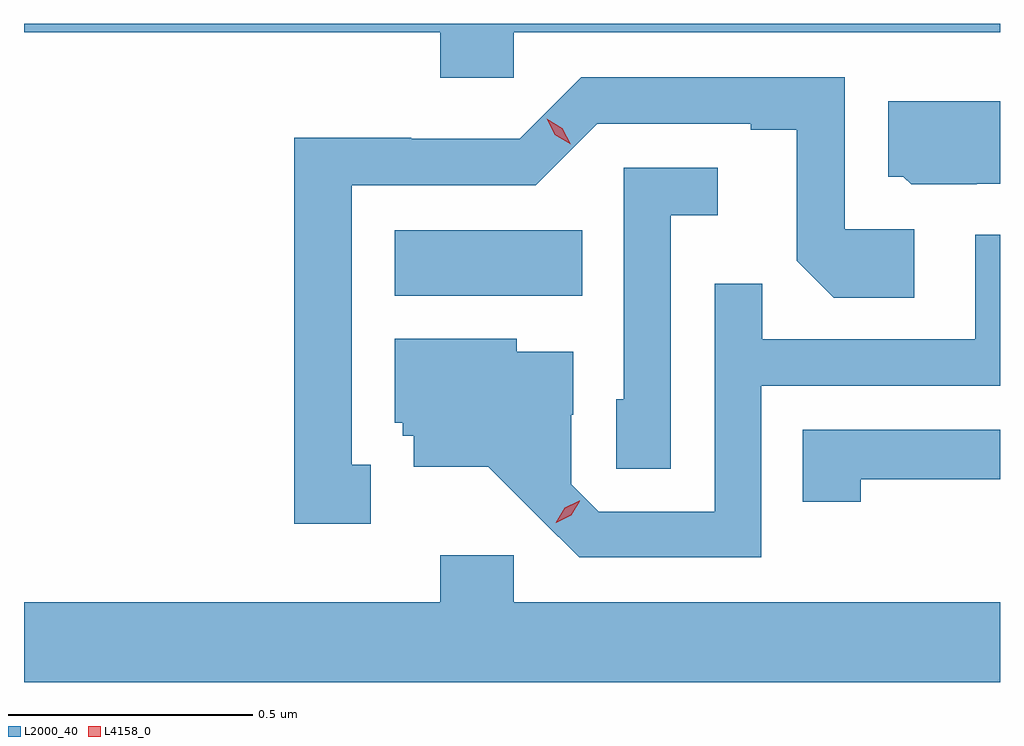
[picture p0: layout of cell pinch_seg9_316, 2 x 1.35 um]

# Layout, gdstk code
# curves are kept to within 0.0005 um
import gdstk
lib = gdstk.Library(unit=1e-6, precision=1e-09)
def R(c, l, rs):  # rectangles x0, y0, x1, y1
    for r in rs: c.add(gdstk.rectangle(r[:2], r[2:], *l))
def P(c, l, *ps):  # polygons
    for p in ps: c.add(gdstk.Polygon(p, *l))
L2000_40 = (2000, 40)
L4158_0 = (4158, 0)

pinch_seg9_316 = lib.new_cell('pinch_seg9_316')
R(pinch_seg9_316, L2000_40, [(609.788,1189.22,610.172,1189.354)])
P(pinch_seg9_316, L2000_40, [(610.032,1189.76),(611.028,1189.76),(611.028,1189.777),(609.028,1189.777),(609.028,1189.76),(609.881,1189.76),(609.881,1189.667),(610.032,1189.667)],
  [(609.739,1188.873),(609.7,1188.873),(609.7,1189.446),(610.077,1189.446),(610.203,1189.572),(610.517,1189.572),(610.517,1189.56),(610.611,1189.56),(610.611,1189.292),(610.687,1189.216),(610.852,1189.216),(610.852,1189.356),(610.71,1189.356),(610.71,1189.668),(610.17,1189.668),(610.044,1189.542),(609.822,1189.542),(609.822,1189.544),(609.582,1189.544),(609.582,1188.753),(609.739,1188.753)],
  [(610.98,1189.449),(611.028,1189.449),(611.028,1189.618),(610.799,1189.618),(610.799,1189.464),(610.83,1189.464),(610.846,1189.448),(610.98,1189.448)],
  [(610.353,1189.385),(610.45,1189.385),(610.45,1189.482),(610.257,1189.482),(610.257,1189.008),(610.242,1189.008),(610.242,1188.865),(610.353,1188.865)],
  [(610.539,1189.035),(611.028,1189.035),(611.028,1189.345),(610.977,1189.345),(610.977,1189.131),(610.541,1189.131),(610.541,1189.244),(610.443,1189.244),(610.443,1188.777),(610.206,1188.777),(610.149,1188.834),(610.149,1188.976),(610.153,1188.976),(610.153,1189.105),(610.038,1189.105),(610.038,1189.132),(609.788,1189.132),(609.788,1188.96),(609.804,1188.96),(609.804,1188.933),(609.827,1188.933),(609.827,1188.869),(609.979,1188.869),(610.166,1188.684),(610.539,1188.684)],
  [(610.743,1188.844),(611.028,1188.844),(611.028,1188.945),(610.624,1188.945),(610.624,1188.798),(610.743,1188.798)],
  [(611.028,1188.592),(610.032,1188.592),(610.032,1188.688),(609.881,1188.688),(609.881,1188.592),(609.028,1188.592),(609.028,1188.428),(611.028,1188.428)])
P(pinch_seg9_316, L4158_0, [(610.118,1188.755),(610.118,1188.755),(610.136,1188.785),(610.166,1188.8),(610.167,1188.8),(610.167,1188.799),(610.149,1188.77),(610.119,1188.755)],
  [(610.148,1189.53),(610.116,1189.55),(610.099,1189.583),(610.099,1189.583),(610.099,1189.583),(610.131,1189.563),(610.148,1189.53),(610.148,1189.53)])

lib.write_gds('pinch_seg9_316.gds')
